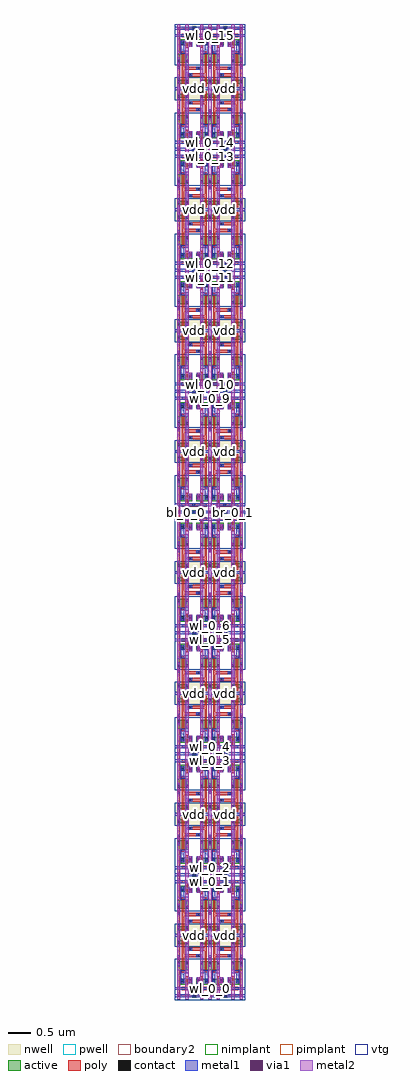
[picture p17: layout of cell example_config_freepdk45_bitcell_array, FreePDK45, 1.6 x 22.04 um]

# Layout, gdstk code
import gdstk
lib = gdstk.Library(unit=1e-6, precision=5e-10)
def R(c, l, rs):  # rectangles x0, y0, x1, y1
    for r in rs: c.add(gdstk.rectangle(r[:2], r[2:], *l))
def A(c, l, x, y, w, h, nx, ny, dx, dy):  # array of equal rectangles
    R(c, l, [(x+i*dx, y+j*dy, x+i*dx+w, y+j*dy+h) for i in range(nx) for j in range(ny)])
active = (1, 0)
pwell = (2, 0)
nwell = (3, 0)
nimplant = (4, 0)
pimplant = (5, 0)
vtg = (6, 0)
poly = (9, 0)
contact = (10, 0)
metal1 = (11, 0)
via1 = (12, 0)
metal2 = (13, 0)
boundary2 = (239, 0)

cell_1rw = lib.new_cell('cell_1rw')
R(cell_1rw, active, [(0.3025,-0.045,0.3925,0.045), (0.3025,-0.045,0.3925,0.045), (0.045,0.2475,0.12,0.3825), (0.045,0.2475,0.12,0.3825), (0.045,0.2475,0.305,0.3825), (0.23,0.2475,0.305,0.3825), (0.23,0.2475,0.305,0.3825), (0.4,0.2475,0.475,0.3825), (0.4,0.2475,0.475,0.3825), (0.4,0.2475,0.66,0.3825), (0.585,0.2475,0.66,0.3825), (0.585,0.2475,0.66,0.3825), (0.045,0.3075,0.12,0.3825), (0.23,0.3075,0.305,0.3825), (0.4,0.3075,0.475,0.3825), (0.585,0.3075,0.66,0.3825), (-0.04,0.5675,0.225,0.7725), (-0.035,0.5675,0.04,0.7725), (-0.035,0.5675,0.04,0.7725), (0.15,0.5675,0.225,0.7725), (0.15,0.5675,0.225,0.7725), (0.48,0.5675,0.555,0.7725), (0.48,0.5675,0.555,0.7725), (0.48,0.5675,0.745,0.7725), (0.665,0.5675,0.74,0.7725), (0.665,0.5675,0.74,0.7725), (-0.035,0.6975,0.04,0.7725), (0.15,0.6975,0.225,0.7725), (0.48,0.6975,0.555,0.7725), (0.665,0.6975,0.74,0.7725), (-0.04,1.1625,0.225,1.2525), (-0.04,1.1625,0.04,1.2375), (-0.035,1.1625,0.04,1.2525), (-0.035,1.1625,0.04,1.2525), (0.15,1.1625,0.225,1.2375), (0.15,1.1625,0.225,1.2525), (0.15,1.1625,0.225,1.2525), (0.48,1.1625,0.555,1.2375), (0.48,1.1625,0.555,1.2525), (0.48,1.1625,0.555,1.2525), (0.48,1.1625,0.745,1.2525), (0.665,1.1625,0.74,1.2525), (0.665,1.1625,0.74,1.2525), (0.665,1.1625,0.745,1.2375), (0.3025,1.32,0.3925,1.41), (0.3025,1.32,0.3925,1.41)])
R(cell_1rw, pwell, [(-0.095,-0.1,0.8,0.8275), (0.2475,-0.1,0.4475,0.1), (0.2475,-0.08,0.4475,0.12), (-0.01,0.1925,0.36,0.4375), (0.345,0.1925,0.715,0.4375), (-0.09,0.5125,0.28,0.8275), (0.425,0.5125,0.795,0.8275)])
R(cell_1rw, nwell, [(-0.095,1.1075,0.8,1.465), (-0.09,1.1075,0.28,1.3075), (0.425,1.1075,0.795,1.3075), (0.2475,1.265,0.4475,1.465), (0.2475,1.265,0.4475,1.465)])
R(cell_1rw, nimplant, [(0.045,0.2475,0.305,0.3825), (0.4,0.2475,0.66,0.3825), (-0.035,0.5675,0.225,0.7725), (0.48,0.5675,0.74,0.7725), (0.3025,1.32,0.3925,1.41), (0.3025,1.32,0.3925,1.41)])
R(cell_1rw, pimplant, [(0.3025,-0.045,0.3925,0.045), (-0.035,1.1625,0.225,1.2525), (0.48,1.1625,0.74,1.2525)])
R(cell_1rw, vtg, [(-0.09,-0.1,0.795,0.8275), (-0.01,0.1925,0.36,0.4375), (0.345,0.1925,0.715,0.4375), (-0.09,0.5125,0.28,0.8275), (0.425,0.5125,0.795,0.8275), (-0.09,1.1075,0.795,1.465), (-0.09,1.1075,0.28,1.3075), (0.425,1.1075,0.795,1.3075)])
R(cell_1rw, poly, [(0.07,0.1225,0.635,0.1975), (0.2975,0.1225,0.3725,0.1975), (0.15,0.1925,0.2,0.4375), (0.15,0.1925,0.2,0.2475), (0.505,0.1925,0.555,0.4375), (0.505,0.1925,0.555,0.2475), (0.15,0.3825,0.2,0.4375), (0.505,0.3825,0.555,0.4375), (0.07,0.5125,0.12,0.5675), (0.07,0.5125,0.12,0.8275), (0.585,0.5125,0.635,0.5675), (0.585,0.5125,0.635,0.8275), (0.07,0.7725,0.12,0.8275), (0.585,0.7725,0.635,0.8275), (0.07,0.8275,0.12,1.1075), (0.07,0.8275,0.12,1.1075), (0.585,0.8275,0.635,1.1075), (0.585,0.8275,0.635,1.1075), (0.07,0.8625,0.5025,0.9375), (0.4275,0.8625,0.5025,0.9375), (0.4275,0.8625,0.5025,0.9375), (0.2025,1.0125,0.635,1.0875), (0.2025,1.0125,0.2775,1.0875), (0.2025,1.0125,0.2775,1.0875), (0.07,1.1075,0.12,1.1625), (0.07,1.1075,0.12,1.3075), (0.585,1.1075,0.635,1.1625), (0.585,1.1075,0.635,1.3075), (0.07,1.2525,0.12,1.3075), (0.585,1.2525,0.635,1.3075)])
R(cell_1rw, contact, [(0.315,-0.0325,0.38,0.0325), (0.3025,0.1275,0.3675,0.1925), (0.05,0.3125,0.115,0.3775), (0.235,0.3125,0.3,0.3775), (0.405,0.3125,0.47,0.3775), (0.59,0.3125,0.655,0.3775), (-0.0325,0.7025,0.0325,0.7675), (0.155,0.7025,0.22,0.7675), (0.485,0.7025,0.55,0.7675), (0.6725,0.7025,0.7375,0.7675), (0.4325,0.8675,0.4975,0.9325), (0.4325,0.8675,0.4975,0.9325), (0.2075,1.0175,0.2725,1.0825), (0.2075,1.0175,0.2725,1.0825), (-0.0325,1.1675,0.0325,1.2325), (0.155,1.1675,0.22,1.2325), (0.485,1.1675,0.55,1.2325), (0.6725,1.1675,0.7375,1.2325), (0.315,1.3325,0.38,1.3975)])
R(cell_1rw, metal1, [(-0.09,-0.0325,0.795,0.0325), (-0.09,-0.0325,0.795,0.0325), (-0.09,0.1275,0.795,0.1925), (-0.09,0.1275,0.795,0.1925), (0.2675,0.1275,0.4025,0.1925), (-0.085,0.13,-0.0325,0.1925), (0.62,0.13,0.6725,0.1925), (0.05,0.2775,0.12,0.5675), (0.05,0.2775,0.115,0.4125), (0.2225,0.2775,0.2875,0.4125), (0.235,0.2775,0.3,0.4125), (0.405,0.2775,0.47,0.4125), (0.4175,0.2775,0.4825,0.4125), (0.59,0.2775,0.66,0.5675), (0.59,0.2775,0.655,0.4125), (0.05,0.5025,0.22,0.5675), (0.155,0.5025,0.22,1.2425), (0.485,0.5025,0.55,1.1325), (0.485,0.5025,0.66,0.5675), (-0.035,0.6675,0.035,0.8025), (-0.035,0.6675,0.035,0.8025), (-0.03,0.6675,0.035,0.8025), (0.155,0.6675,0.22,0.8025), (0.485,0.6675,0.55,0.8025), (0.67,0.6675,0.74,0.8025), (0.67,0.6675,0.74,0.8025), (0.67,0.6675,0.74,0.8025), (0.67,0.6675,0.74,0.8025), (0.67,0.6675,0.74,0.8025), (0.67,0.6675,0.74,0.8025), (0.67,0.6675,0.735,0.8025), (-0.0325,0.77,0.0325,0.905), (-0.0325,0.77,0.0325,0.905), (-0.0325,0.77,0.0325,0.905), (-0.0325,0.77,0.0325,0.905), (-0.0325,0.77,0.0325,0.905), (-0.0325,0.77,0.0325,0.905), (0.6725,0.77,0.7375,0.905), (0.6725,0.77,0.7375,0.905), (0.6725,0.77,0.7375,0.905), (0.6725,0.77,0.7375,0.905), (0.6725,0.77,0.7375,0.905), (0.6725,0.77,0.7375,0.905), (0.6725,0.77,0.7375,0.905), (0.6725,0.77,0.7375,0.905), (0.6725,0.77,0.7375,0.905), (0.6725,0.77,0.7375,0.905), (0.6725,0.77,0.7375,0.905), (0.6725,0.77,0.7375,0.905), (0.6725,0.77,0.7375,0.905), (0.6725,0.77,0.7375,0.905), (0.6725,0.77,0.7375,0.905), (0.6725,0.77,0.7375,0.905), (0.6725,0.77,0.7375,0.905), (0.6725,0.77,0.7375,0.905), (0.6725,0.77,0.7375,0.905), (0.6725,0.77,0.7375,0.905), (0.6725,0.77,0.7375,0.905), (0.6725,0.77,0.7375,0.905), (0.6725,0.77,0.7375,0.905), (0.6725,0.77,0.7375,0.905), (0.3975,0.8675,0.5325,0.9325), (0.3975,0.8675,0.5325,0.9325), (0.1725,1.0175,0.3075,1.0825), (0.1725,1.0175,0.3075,1.0825), (-0.035,1.1325,0.035,1.3325), (-0.03,1.1325,0.035,1.2675), (0.155,1.1325,0.22,1.2675), (0.485,1.1325,0.55,1.2675), (0.67,1.1325,0.74,1.3325), (0.67,1.1325,0.74,1.3325), (0.67,1.1325,0.735,1.2675), (-0.09,1.3325,0.795,1.3975), (-0.09,1.3325,0.795,1.3975)])
R(cell_1rw, via1, [(-0.0325,-0.0325,0.0325,0.0325), (-0.0325,-0.0325,0.0325,0.0325), (0.6725,-0.0325,0.7375,0.0325), (0.6725,-0.0325,0.7375,0.0325), (0.6725,-0.0325,0.7375,0.0325), (0.6725,-0.0325,0.7375,0.0325), (0.2225,0.3125,0.2875,0.3775), (0.4175,0.3125,0.4825,0.3775), (-0.0325,0.805,0.0325,0.87), (-0.0325,0.805,0.0325,0.87), (-0.0325,0.805,0.0325,0.87), (-0.0325,0.805,0.0325,0.87), (-0.0325,0.805,0.0325,0.87), (-0.0325,0.805,0.0325,0.87), (0.6725,0.805,0.7375,0.87), (0.6725,0.805,0.7375,0.87), (0.6725,0.805,0.7375,0.87), (0.6725,0.805,0.7375,0.87), (0.6725,0.805,0.7375,0.87), (0.6725,0.805,0.7375,0.87), (0.6725,0.805,0.7375,0.87), (0.6725,0.805,0.7375,0.87), (0.6725,0.805,0.7375,0.87), (0.6725,0.805,0.7375,0.87), (0.6725,0.805,0.7375,0.87), (0.6725,0.805,0.7375,0.87), (0.6725,0.805,0.7375,0.87), (0.6725,0.805,0.7375,0.87), (0.6725,0.805,0.7375,0.87), (0.6725,0.805,0.7375,0.87), (0.6725,0.805,0.7375,0.87), (0.6725,0.805,0.7375,0.87), (0.6725,0.805,0.7375,0.87), (0.6725,0.805,0.7375,0.87), (0.6725,0.805,0.7375,0.87), (0.6725,0.805,0.7375,0.87), (0.6725,0.805,0.7375,0.87), (0.6725,0.805,0.7375,0.87)])
R(cell_1rw, metal2, [(-0.035,-0.08,0.035,1.465), (0.15,-0.08,0.22,1.465), (0.15,-0.08,0.22,1.465), (0.485,-0.08,0.555,1.465), (0.485,-0.08,0.555,1.465), (0.67,-0.08,0.74,1.465), (0.4925,-0.0325,0.55,0.0275), (-0.03,-0.03,0.03,0.0275), (0.1575,-0.025,0.2125,0.0275), (0.675,-0.025,0.735,0.0325), (0.67,-0.0125,0.74,1.3975), (0.22,0.2775,0.29,0.4125), (0.415,0.2775,0.485,0.4125), (-0.035,0.77,0.035,0.905), (-0.035,0.77,0.035,0.905), (-0.035,0.77,0.035,0.905), (-0.035,0.77,0.035,0.905), (-0.035,0.77,0.035,0.905), (-0.035,0.77,0.035,0.905), (0.67,0.77,0.74,0.905), (0.67,0.77,0.74,0.905), (0.67,0.77,0.74,0.905), (0.67,0.77,0.74,0.905), (0.67,0.77,0.74,0.905), (0.67,0.77,0.74,0.905), (0.67,0.77,0.74,0.905), (0.67,0.77,0.74,0.905), (0.67,0.77,0.74,0.905), (0.67,0.77,0.74,0.905), (0.67,0.77,0.74,0.905), (0.67,0.77,0.74,0.905), (0.67,0.77,0.74,0.905), (0.67,0.77,0.74,0.905), (0.67,0.77,0.74,0.905), (0.67,0.77,0.74,0.905), (0.67,0.77,0.74,0.905), (0.67,0.77,0.74,0.905), (0.67,0.77,0.74,0.905), (0.67,0.77,0.74,0.905), (0.67,0.77,0.74,0.905), (0.67,0.77,0.74,0.905), (0.67,0.77,0.74,0.905), (0.67,0.77,0.74,0.905)])
R(cell_1rw, boundary2, [(0,0.02,0.705,1.365)])
cell_1rw.add(gdstk.Label('gnd', (0.345,0), layer=11, texttype=0))
cell_1rw.add(gdstk.Label('vdd', (0.345,1.365), layer=11, texttype=0))
cell_1rw.add(gdstk.Label('Q_bar', (0.625,0.48), layer=11, texttype=0))
cell_1rw.add(gdstk.Label('Q', (0.0825,0.46), layer=11, texttype=0))
cell_1rw.add(gdstk.Label('wl', (-0.05,0.167), layer=11, texttype=0))
cell_1rw.add(gdstk.Label('bl', (0.19,0.003), layer=13, texttype=0))
cell_1rw.add(gdstk.Label('br', (0.52,0.003), layer=13, texttype=0))
cell_1rw.add(gdstk.Label('bl', (0.185,0.6925), layer=13, texttype=0))
cell_1rw.add(gdstk.Label('br', (0.52,0.6925), layer=13, texttype=0))
cell_1rw.add(gdstk.Label('wl', (0.3525,0.16), layer=11, texttype=0))
cell_1rw.add(gdstk.Label('vdd', (0.3525,1.365), layer=11, texttype=0))
cell_1rw.add(gdstk.Label('gnd', (0.3525,0), layer=11, texttype=0))

example_config_freepdk45 = lib.new_cell('example_config_freepdk45_bitcell_array')
A(example_config_freepdk45, metal1, -0.09, -0.0325, 0.885, 0.065, 1, 17, 0, 1.365)
A(example_config_freepdk45, metal1, 0.615, -0.0325, 0.885, 0.065, 1, 17, 0, 1.365)
R(example_config_freepdk45, metal1, [(0,0.1275,1.41,0.1925), (0,2.5375,1.41,2.6025), (0,2.8575,1.41,2.9225), (0,5.2675,1.41,5.3325), (0,5.5875,1.41,5.6525), (0,7.9975,1.41,8.0625), (0,8.3175,1.41,8.3825), (0,10.7275,1.41,10.7925), (0,11.0475,1.41,11.1125), (0,13.4575,1.41,13.5225), (0,13.7775,1.41,13.8425), (0,16.1875,1.41,16.2525), (0,16.5075,1.41,16.5725), (0,18.9175,1.41,18.9825), (0,19.2375,1.41,19.3025), (0,21.6475,1.41,21.7125)])
R(example_config_freepdk45, metal2, [(0.15,0,0.22,21.84), (0.485,0,0.555,21.84), (0.855,0,0.925,21.84), (1.19,0,1.26,21.84)])
R(example_config_freepdk45, boundary2, [(0,0,1.41,21.84)])
example_config_freepdk45.add(gdstk.Reference(cell_1rw, (0,0)))
example_config_freepdk45.add(gdstk.Reference(cell_1rw, (0,2.73), x_reflection=True))
example_config_freepdk45.add(gdstk.Reference(cell_1rw, (0,2.73)))
example_config_freepdk45.add(gdstk.Reference(cell_1rw, (0,5.46), x_reflection=True))
example_config_freepdk45.add(gdstk.Reference(cell_1rw, (0,5.46)))
example_config_freepdk45.add(gdstk.Reference(cell_1rw, (0,8.19), x_reflection=True))
example_config_freepdk45.add(gdstk.Reference(cell_1rw, (0,8.19)))
example_config_freepdk45.add(gdstk.Reference(cell_1rw, (0,10.92), x_reflection=True))
example_config_freepdk45.add(gdstk.Reference(cell_1rw, (0,10.92)))
example_config_freepdk45.add(gdstk.Reference(cell_1rw, (0,13.65), x_reflection=True))
example_config_freepdk45.add(gdstk.Reference(cell_1rw, (0,13.65)))
example_config_freepdk45.add(gdstk.Reference(cell_1rw, (0,16.38), x_reflection=True))
example_config_freepdk45.add(gdstk.Reference(cell_1rw, (0,16.38)))
example_config_freepdk45.add(gdstk.Reference(cell_1rw, (0,19.11), x_reflection=True))
example_config_freepdk45.add(gdstk.Reference(cell_1rw, (0,19.11)))
example_config_freepdk45.add(gdstk.Reference(cell_1rw, (0,21.84), x_reflection=True))
example_config_freepdk45.add(gdstk.Reference(cell_1rw, (0.705,0)))
example_config_freepdk45.add(gdstk.Reference(cell_1rw, (0.705,2.73), x_reflection=True))
example_config_freepdk45.add(gdstk.Reference(cell_1rw, (0.705,2.73)))
example_config_freepdk45.add(gdstk.Reference(cell_1rw, (0.705,5.46), x_reflection=True))
example_config_freepdk45.add(gdstk.Reference(cell_1rw, (0.705,5.46)))
example_config_freepdk45.add(gdstk.Reference(cell_1rw, (0.705,8.19), x_reflection=True))
example_config_freepdk45.add(gdstk.Reference(cell_1rw, (0.705,8.19)))
example_config_freepdk45.add(gdstk.Reference(cell_1rw, (0.705,10.92), x_reflection=True))
example_config_freepdk45.add(gdstk.Reference(cell_1rw, (0.705,10.92)))
example_config_freepdk45.add(gdstk.Reference(cell_1rw, (0.705,13.65), x_reflection=True))
example_config_freepdk45.add(gdstk.Reference(cell_1rw, (0.705,13.65)))
example_config_freepdk45.add(gdstk.Reference(cell_1rw, (0.705,16.38), x_reflection=True))
example_config_freepdk45.add(gdstk.Reference(cell_1rw, (0.705,16.38)))
example_config_freepdk45.add(gdstk.Reference(cell_1rw, (0.705,19.11), x_reflection=True))
example_config_freepdk45.add(gdstk.Reference(cell_1rw, (0.705,19.11)))
example_config_freepdk45.add(gdstk.Reference(cell_1rw, (0.705,21.84), x_reflection=True))
example_config_freepdk45.add(gdstk.Label('bl_0_0', (0.185,10.92), layer=13, texttype=0))
example_config_freepdk45.add(gdstk.Label('br_0_0', (0.52,10.92), layer=13, texttype=0))
example_config_freepdk45.add(gdstk.Label('bl_0_1', (0.89,10.92), layer=13, texttype=0))
example_config_freepdk45.add(gdstk.Label('br_0_1', (1.225,10.92), layer=13, texttype=0))
example_config_freepdk45.add(gdstk.Label('wl_0_0', (0.705,0.16), layer=11, texttype=0))
example_config_freepdk45.add(gdstk.Label('wl_0_1', (0.705,2.57), layer=11, texttype=0))
example_config_freepdk45.add(gdstk.Label('wl_0_2', (0.705,2.89), layer=11, texttype=0))
example_config_freepdk45.add(gdstk.Label('wl_0_3', (0.705,5.3), layer=11, texttype=0))
example_config_freepdk45.add(gdstk.Label('wl_0_4', (0.705,5.62), layer=11, texttype=0))
example_config_freepdk45.add(gdstk.Label('wl_0_5', (0.705,8.03), layer=11, texttype=0))
example_config_freepdk45.add(gdstk.Label('wl_0_6', (0.705,8.35), layer=11, texttype=0))
example_config_freepdk45.add(gdstk.Label('wl_0_7', (0.705,10.76), layer=11, texttype=0))
example_config_freepdk45.add(gdstk.Label('wl_0_8', (0.705,11.08), layer=11, texttype=0))
example_config_freepdk45.add(gdstk.Label('wl_0_9', (0.705,13.49), layer=11, texttype=0))
example_config_freepdk45.add(gdstk.Label('wl_0_10', (0.705,13.81), layer=11, texttype=0))
example_config_freepdk45.add(gdstk.Label('wl_0_11', (0.705,16.22), layer=11, texttype=0))
example_config_freepdk45.add(gdstk.Label('wl_0_12', (0.705,16.54), layer=11, texttype=0))
example_config_freepdk45.add(gdstk.Label('wl_0_13', (0.705,18.95), layer=11, texttype=0))
example_config_freepdk45.add(gdstk.Label('wl_0_14', (0.705,19.27), layer=11, texttype=0))
example_config_freepdk45.add(gdstk.Label('wl_0_15', (0.705,21.68), layer=11, texttype=0))
example_config_freepdk45.add(gdstk.Label('vdd', (0.3525,17.745), layer=11, texttype=0))
example_config_freepdk45.add(gdstk.Label('vdd', (0.3525,20.475), layer=11, texttype=0))
example_config_freepdk45.add(gdstk.Label('vdd', (1.0575,15.015), layer=11, texttype=0))
example_config_freepdk45.add(gdstk.Label('vdd', (1.0575,9.555), layer=11, texttype=0))
example_config_freepdk45.add(gdstk.Label('vdd', (1.0575,6.825), layer=11, texttype=0))
example_config_freepdk45.add(gdstk.Label('vdd', (0.3525,6.825), layer=11, texttype=0))
example_config_freepdk45.add(gdstk.Label('vdd', (1.0575,17.745), layer=11, texttype=0))
example_config_freepdk45.add(gdstk.Label('vdd', (1.0575,12.285), layer=11, texttype=0))
example_config_freepdk45.add(gdstk.Label('vdd', (1.0575,20.475), layer=11, texttype=0))
example_config_freepdk45.add(gdstk.Label('vdd', (1.0575,1.365), layer=11, texttype=0))
example_config_freepdk45.add(gdstk.Label('vdd', (1.0575,4.095), layer=11, texttype=0))
example_config_freepdk45.add(gdstk.Label('vdd', (0.3525,12.285), layer=11, texttype=0))
example_config_freepdk45.add(gdstk.Label('vdd', (0.3525,9.555), layer=11, texttype=0))
example_config_freepdk45.add(gdstk.Label('vdd', (0.3525,15.015), layer=11, texttype=0))
example_config_freepdk45.add(gdstk.Label('vdd', (0.3525,1.365), layer=11, texttype=0))
example_config_freepdk45.add(gdstk.Label('vdd', (0.3525,4.095), layer=11, texttype=0))
example_config_freepdk45.add(gdstk.Label('gnd', (0.3525,2.73), layer=11, texttype=0))
example_config_freepdk45.add(gdstk.Label('gnd', (0.3525,21.84), layer=11, texttype=0))
example_config_freepdk45.add(gdstk.Label('gnd', (1.0575,8.19), layer=11, texttype=0))
example_config_freepdk45.add(gdstk.Label('gnd', (0.3525,0), layer=11, texttype=0))
example_config_freepdk45.add(gdstk.Label('gnd', (0.3525,19.11), layer=11, texttype=0))
example_config_freepdk45.add(gdstk.Label('gnd', (1.0575,5.46), layer=11, texttype=0))
example_config_freepdk45.add(gdstk.Label('gnd', (1.0575,16.38), layer=11, texttype=0))
example_config_freepdk45.add(gdstk.Label('gnd', (1.0575,21.84), layer=11, texttype=0))
example_config_freepdk45.add(gdstk.Label('gnd', (0.3525,5.46), layer=11, texttype=0))
example_config_freepdk45.add(gdstk.Label('gnd', (1.0575,2.73), layer=11, texttype=0))
example_config_freepdk45.add(gdstk.Label('gnd', (0.3525,10.92), layer=11, texttype=0))
example_config_freepdk45.add(gdstk.Label('gnd', (1.0575,0), layer=11, texttype=0))
example_config_freepdk45.add(gdstk.Label('gnd', (1.0575,13.65), layer=11, texttype=0))
example_config_freepdk45.add(gdstk.Label('gnd', (1.0575,10.92), layer=11, texttype=0))
example_config_freepdk45.add(gdstk.Label('gnd', (1.0575,19.11), layer=11, texttype=0))
example_config_freepdk45.add(gdstk.Label('gnd', (0.3525,8.19), layer=11, texttype=0))
example_config_freepdk45.add(gdstk.Label('gnd', (0.3525,13.65), layer=11, texttype=0))
example_config_freepdk45.add(gdstk.Label('gnd', (0.3525,16.38), layer=11, texttype=0))

lib.write_gds('example_config_freepdk45_bitcell_array.gds')
